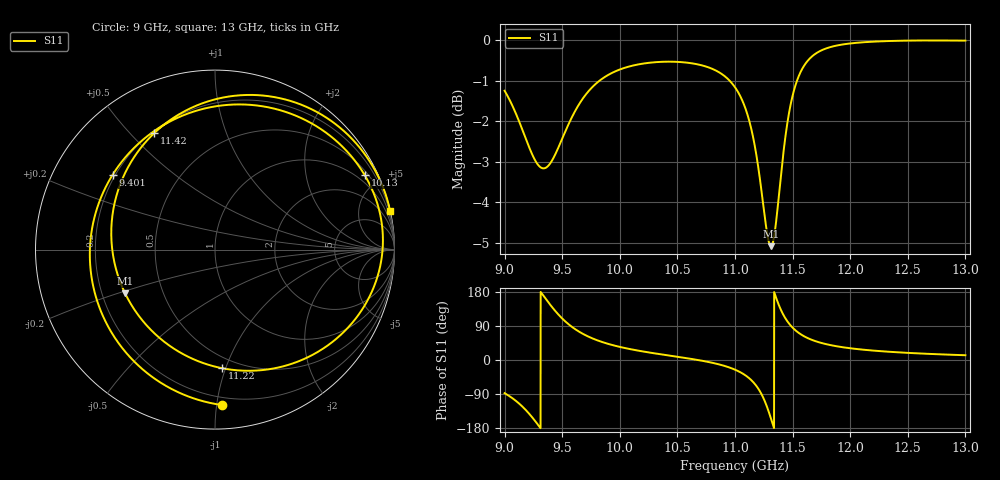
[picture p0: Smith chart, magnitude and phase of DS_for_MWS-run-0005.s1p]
! TOUCHSTONE file generated by CST DESIGN STUDIO
! Date and time: Tue Feb  4 13:54:27 2025
! Project name: C:\Work\MatlabApps\UnitCellOptimizationMatlab\CST\unitcell.cst
! Tree item: Tasks\Sweep1\SPara1\S-Parameters
! Header version: 2024
! Port assignment regex: !\s*Touchstone port\s*([0-9]+)\s*=\s*(CST MWS port|CST DES external port|CST DES block port)\s*(.+)\s* \(\"(.*)\"\)(\s*mode\s*([0-9]+))?.*
! Touchstone port assignment:
! Touchstone port 1 = CST DES external port 1 ("")
# GHz S MA R 50
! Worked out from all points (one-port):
!   4001 points, 9 GHz to 13 GHz, reference 50 ohm
!   lowest |S11| = -5.1 dB at 11.31 GHz (marker M1), VSWR 3.52, Z = 14.9 - j10.5 ohm
!   |S11| at or under -10 dB: nowhere
!   S11 on the Smith chart (normalised r, x): 9 GHz: 0.15, -1.03; 9.401 GHz: 0.19, +0.32; 10.13 GHz: 0.66, +4.16; 11.22 GHz: 0.41, -0.97; 11.42 GHz: 0.21, +0.59; 13 GHz: 0.05, +9.07
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9  0.8664 -87.6
9.133  0.7895 -116.9
9.253  0.7163 -156.4
9.326  0.6954 174.2
9.401  0.7066 143.8
9.5  0.7561 109.5
9.598  0.8108 84.4
9.73  0.8657 61.3
9.853  0.8976 46.8
10  0.9202 34.6
10.129  0.9317 26.4
10.5  0.9404 8.5
10.809  0.9211 -7.8
11  0.875 -25.5
11.124  0.7951 -48.4
11.224  0.6617 -86.7
11.268  0.5916 -115.7
11.312  0.5571 -154.2
11.363  0.608 158.9
11.423  0.7322 117.5
11.459  0.7978 100.2
11.5  0.8542 85.4
11.585  0.9228 65.2
11.686  0.9595 51.0
11.818  0.9798 40.0
12  0.9909 31.0
12.5  0.999 18.8
13  0.9989 12.6
